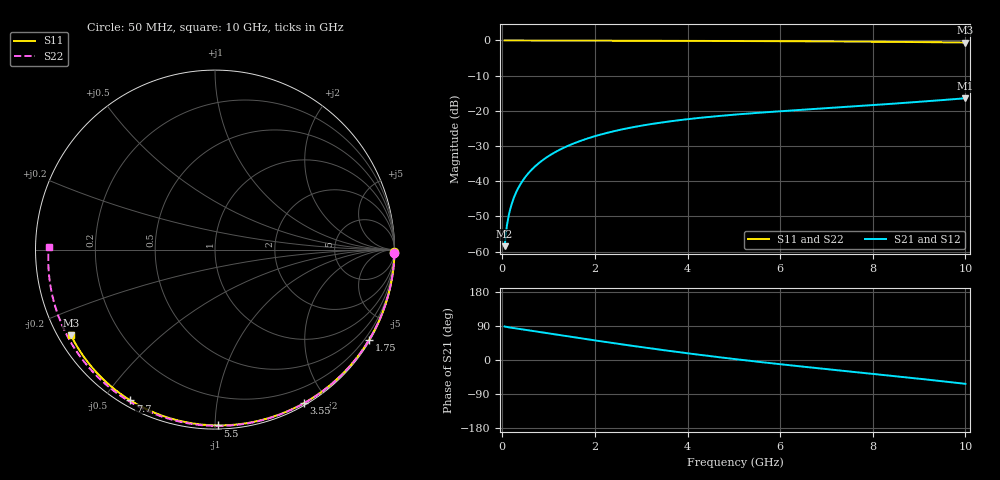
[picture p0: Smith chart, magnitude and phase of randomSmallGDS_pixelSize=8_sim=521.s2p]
! freq	dB(S11)	phase(S11)	dB(S12)	phase(S12)
!  dB(S21)	phase(S21)	dB(S22)	phase(S22)
!S-par simulation data
#  GHz  S  DB  R 50
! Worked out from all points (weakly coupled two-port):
!   200 points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, 50 MHz to 10 GHz, reference 50 ohm
!   highest |S21| = -16.42 dB at 10 GHz (marker M1); lowest = -58.4 dB at 50 MHz (marker M2)
!   lowest |S11| = -0.6 dB at 10 GHz (marker M3), VSWR 29.16, Z = 1.84 - j13.7 ohm
!   |S11| at or under -10 dB: nowhere
!   |S22| runs from -0.7 to 0.0 dB; largest |S21 - S12| = 0
!   S11 on the Smith chart (normalised r, x): 50 MHz: open; 1.75 GHz: 0.04, -3.68; 3.55 GHz: 0.02, -1.74; 5.5 GHz: 0.02, -1.01; 7.7 GHz: 0.03, -0.59; 10 GHz: 0.04, -0.27
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0.05  -0.00 -0.9  -58.43 88.4  -58.43 88.4  -0.00 -1.1
0.1  -0.00 -1.8  -52.47 87.1  -52.47 87.1  -0.00 -2.2
0.15  -0.00 -2.7  -49.01 86.0  -49.01 86.0  -0.00 -3.2
0.2  -0.00 -3.5  -46.56 85.0  -46.56 85.0  -0.00 -4.3
0.25  -0.00 -4.4  -44.66 84.1  -44.66 84.1  -0.00 -5.4
0.35  -0.00 -6.2  -41.79 82.3  -41.79 82.3  -0.01 -7.5
0.5  -0.01 -8.8  -38.73 79.6  -38.73 79.6  -0.01 -10.7
0.7  -0.01 -12.3  -35.86 75.9  -35.86 75.9  -0.02 -15.0
1  -0.02 -17.5  -32.83 70.3  -32.83 70.3  -0.03 -21.3
1.35  -0.03 -23.5  -30.34 63.7  -30.34 63.7  -0.04 -28.6
1.75  -0.04 -30.4  -28.24 56.3  -28.24 56.3  -0.05 -36.8
2.6  -0.07 -44.6  -25.22 41.0  -25.22 41.0  -0.08 -53.9
3.4  -0.09 -57.5  -23.38 27.4  -23.38 27.4  -0.11 -69.3
3.55  -0.10 -59.9  -23.10 24.9  -23.10 24.9  -0.12 -72.1
4.3  -0.13 -71.5  -21.93 13.1  -21.93 13.1  -0.15 -85.8
5.05  -0.16 -82.6  -21.03 2.0  -21.03 2.0  -0.18 -99.0
5.5  -0.18 -89.1  -20.57 -4.3  -20.57 -4.3  -0.20 -106.7
6.7  -0.25 -105.9  -19.50 -20.2  -19.50 -20.2  -0.28 -126.5
7.7  -0.32 -119.3  -18.63 -32.8  -18.63 -32.8  -0.37 -142.7
8.35  -0.39 -127.8  -18.05 -41.0  -18.05 -41.0  -0.44 -153.3
9.2  -0.48 -138.9  -17.23 -52.0  -17.23 -52.0  -0.55 -167.3
10  -0.60 -149.3  -16.42 -62.9  -16.42 -62.9  -0.67 179.0
